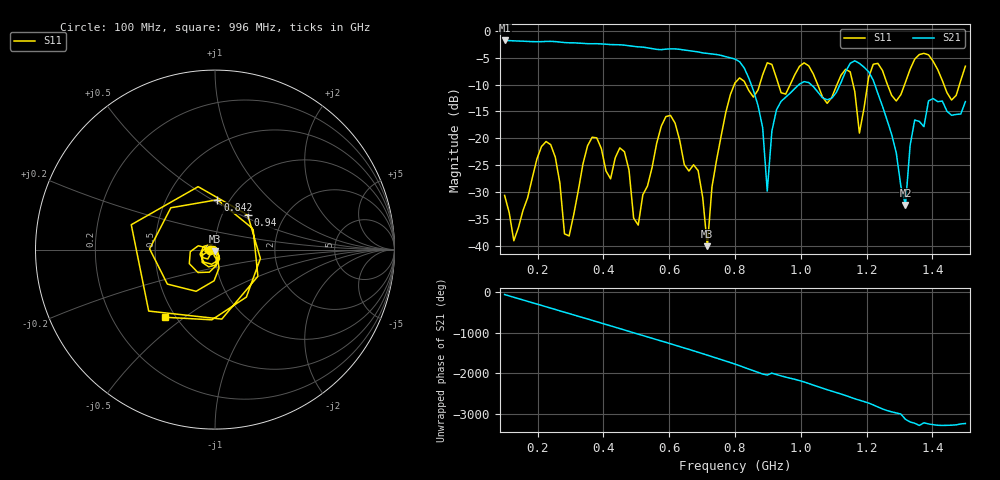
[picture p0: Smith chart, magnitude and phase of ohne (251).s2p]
! NanoVNA-App
! Date: 2025-09-25 14:22:45
! Start: 100MHz Stop: 1,5GHz Points: 101
! S-Parameter data: F S11 S21 S12 S22
# Hz S RI R 50
!  Frequency  S11_Real  S11_Imag  S21_Real  S21_Imag  S12_Real  S12_Imag  S22_Real  S22_Imag
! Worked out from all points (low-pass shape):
!   101 points, 100 MHz to 1.5 GHz, reference 50 ohm
!   highest |S21| = -1.79 dB at 100 MHz (marker M1); lowest = -32.4 dB at 1.318 GHz (marker M2)
!   |S21| within 3 dB of the highest: start of sweep to 770.9 MHz
!   lowest |S11| = -40.1 dB at 716 MHz (marker M3), VSWR 1.02, Z = 49.8 - j0.959 ohm
!   |S11| at or under -10 dB: start of sweep to 798 MHz; 832.9 MHz to 875 MHz (42.12 MHz wide, 4.93 % of centre); 1.051 GHz to 1.11 GHz (58.72 MHz wide, 5.43 % of centre) (the widest 3 of 7)
!   S12 and S22 are empty: the file has one direction only
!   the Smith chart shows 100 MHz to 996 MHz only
!   S11 on the Smith chart (normalised r, x): 100 MHz: 0.94, -0.01; 842 MHz: 0.88, +0.53; 940 MHz: 1.32, +0.55; 996 MHz: 0.44, -0.43
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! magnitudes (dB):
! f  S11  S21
! 100 MHz  -30.6  -1.8
! 128 MHz  -39.1  -1.9
! 226 MHz  -20.6  -2.0
! 296 MHz  -38.2  -2.2
! 338 MHz  -24.8  -2.3
! 464 MHz  -22.5  -2.7
! 506 MHz  -36.2  -3.0
! 576 MHz  -17.8  -3.5
! 688 MHz  -26.0  -3.9
! 716 MHz  -40.1  -4.2
! 800 MHz  -9.7  -5.3
! 842 MHz  -11.1  -8.8
! 898 MHz  -6.0  -29.8
! 940 MHz  -11.5  -13.1
! 996 MHz  -6.6  -9.9
! 1.038 GHz  -8.0  -10.4
! 1.178 GHz  -19.0  -6.1
! 1.22 GHz  -6.2  -9.2
! 1.276 GHz  -12.0  -19.3
! 1.318 GHz  -9.6  -32.4
! 1.346 GHz  -5.3  -16.6
! 1.5 GHz  -6.6  -13.2
